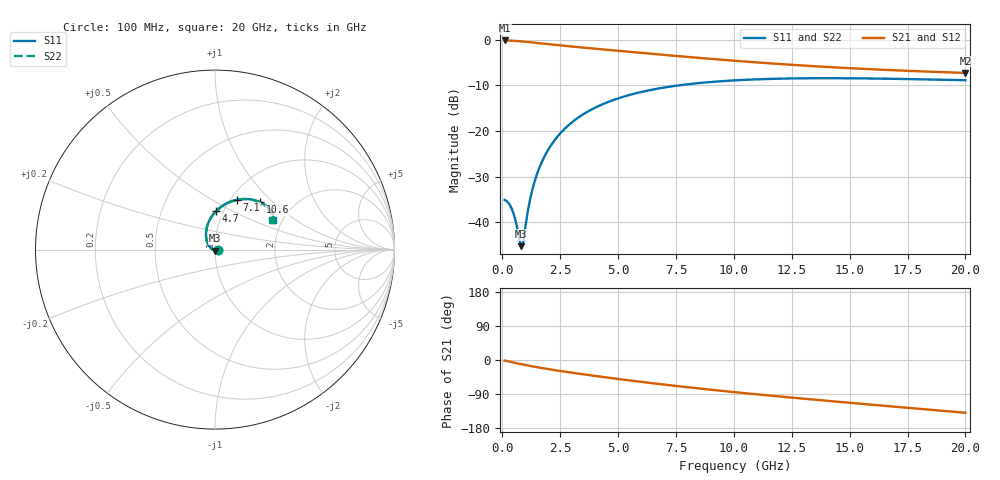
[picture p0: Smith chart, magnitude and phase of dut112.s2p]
! Touchstone file exported from HFSS 2024.1.0
!  File:  C:/UserFiles/LocalFiles/RDL_TSV_Batchsim/temp_RDL_TSV_112_1779422515.aedt
!  Generated:  12:15:03 PM May 22, 2026
!  Design:  RDL_TSV
!  Project:  temp_RDL_TSV_112_1779422515
!  Setup:  Setup1
!  Solution:  Sweep
! Variables:
!  dtsv = 14.97um
!  hbump = 3um
!  htsv = 60.33um
!  ldown = 169.55um
!  lrdl = 296.23um
!  p = 40
!  p1 = 52.61um
!  rhole = 10um
!  subl = 1693.57um
!  t = 450um
!  tdown = 3.48um
!  trdl = 2.11um
!  viad = 10um
!  wdown = 15.01um
!  wrdl = 13.83um
!  xbump = 18um
# GHz S MA R 50.000000
! Terminal data exported
! Port[1] = TM1_1_T1
! Port[2] = TM1_4_T1
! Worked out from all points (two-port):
!   200 points, 100 MHz to 20 GHz, reference 50 ohm
!   highest |S21| = -0.16 dB at 100 MHz (marker M1); lowest = -7.3 dB at 20 GHz (marker M2)
!   |S21| within 3 dB of the highest: start of sweep to 6.621 GHz
!   lowest |S11| = -45.2 dB at 800 MHz (marker M3), VSWR 1.01, Z = 50 - j0.548 ohm
!   |S11| at or under -10 dB: start of sweep to 7.62 GHz
!   |S22| runs from -45.2 to -8.5 dB; largest |S21 - S12| = 9.9e-15
!   S11 on the Smith chart (normalised r, x): 100 MHz: 1.04, -0.00; 4.7 GHz: 0.92, +0.41; 7.1 GHz: 1.07, +0.65; 10.6 GHz: 1.38, +0.84; 20 GHz: 1.78, +0.67
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0.1  0.01766 -4.7  0.9817 -1.4  0.9817 -1.4  0.01766 -4.7
! Gamma 0 0 0 0
! Port Impedance 50 0 50 0
0.3  0.01586 -15.2  0.9784 -4.2  0.9784 -4.2  0.01586 -15.3
0.5  0.01218 -29.7  0.9724 -6.9  0.9724 -6.9  0.0122 -29.7
0.6  0.009773 -40.8  0.9687 -8.2  0.9687 -8.2  0.009797 -40.8
0.8  0.005483 -91.9  0.96 -10.8  0.96 -10.8  0.005503 -91.5
0.9  0.006033 -136.6  0.9551 -12.1  0.9551 -12.1  0.00602 -136.1
1.1  0.01314 178.4  0.9447 -14.5  0.9447 -14.5  0.01307 178.6
1.3  0.02292 161.7  0.9336 -16.8  0.9336 -16.8  0.02283 161.8
1.5  0.03382 151.5  0.9222 -19.0  0.9222 -19.0  0.0337 151.6
1.7  0.04538 143.8  0.9108 -21.1  0.9108 -21.1  0.04522 143.9
2  0.06342 134.6  0.8939 -24.2  0.8939 -24.2  0.06322 134.6
2.4  0.08794 124.6  0.8724 -28.0  0.8724 -28.0  0.08767 124.6
2.9  0.1182 114.4  0.8472 -32.6  0.8472 -32.6  0.1178 114.4
3.5  0.1528 104.3  0.8193 -37.8  0.8193 -37.8  0.1524 104.3
4.7  0.2142 88.5  0.7683 -47.7  0.7683 -47.7  0.2135 88.4
6.8  0.2939 68.7  0.6886 -63.5  0.6886 -63.5  0.293 68.7
7.1  0.3026 66.5  0.6781 -65.7  0.6781 -65.7  0.3016 66.4
10.1  0.3597 48.7  0.5865 -85.3  0.5865 -85.3  0.3584 48.6
10.6  0.3649 46.4  0.5737 -88.3  0.5737 -88.3  0.3636 46.4
13.4  0.3788 36.5  0.514 -104.3  0.514 -104.3  0.3773 36.4
16.7  0.3738 29.6  0.4653 -121.9  0.4653 -121.9  0.3722 29.5
20  0.3603 27.1  0.4329 -139.2  0.4329 -139.2  0.3586 27.0
